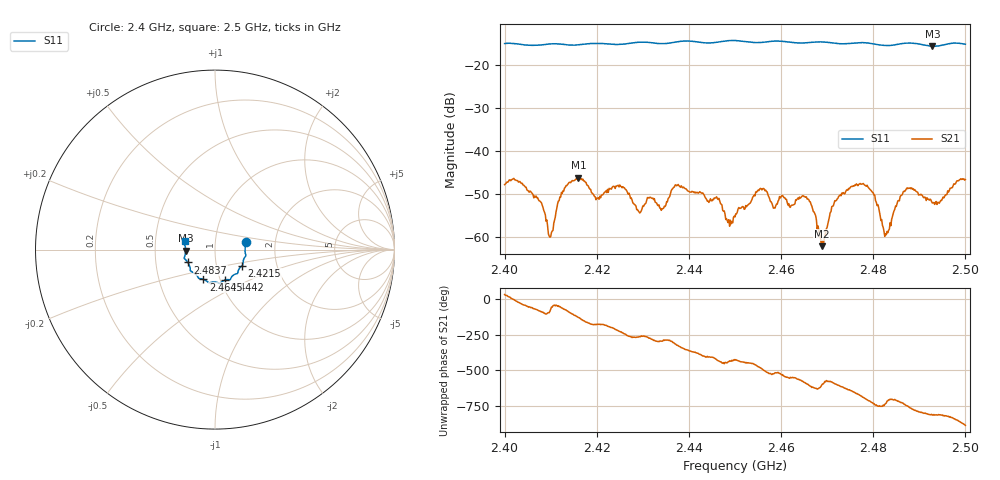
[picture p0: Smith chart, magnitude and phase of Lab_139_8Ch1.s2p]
# Hz S RI R 50
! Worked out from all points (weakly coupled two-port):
!   601 points, 2.4 GHz to 2.5 GHz, reference 50 ohm
!   highest |S21| = -46.20 dB at 2.416 GHz (marker M1); lowest = -62.1 dB at 2.4688 GHz (marker M2)
!   lowest |S11| = -15.7 dB at 2.4928 GHz (marker M3), VSWR 1.39, Z = 36 - j0.388 ohm
!   |S11| at or under -10 dB: start of sweep to end of sweep
!   S12 and S22 are empty: the file has one direction only
!   S11 on the Smith chart (normalised r, x): 2.4 GHz: 1.41, +0.12; 2.4215 GHz: 1.33, -0.25; 2.4442 GHz: 1.05, -0.37; 2.4645 GHz: 0.83, -0.29; 2.4837 GHz: 0.73, -0.11; 2.5 GHz: 0.71, +0.07
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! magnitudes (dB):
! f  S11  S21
! 2.4 GHz  -15.1  -47.8
! 2.4073 GHz  -15.5  -51.3
! 2.41 GHz  -15.2  -59.9
! 2.4125 GHz  -15.3  -49.9
! 2.416 GHz  -15.4  -46.2
! 2.4167 GHz  -15.3  -46.4
! 2.4215 GHz  -15.1  -49.9
! 2.4333 GHz  -15.1  -52.7
! 2.4375 GHz  -14.7  -48.0
! 2.4442 GHz  -15.0  -51.6
! 2.45 GHz  -14.4  -55.3
! 2.4558 GHz  -14.8  -49.1
! 2.4645 GHz  -15.0  -50.6
! 2.4667 GHz  -14.8  -52.8
! 2.4688 GHz  -14.7  -62.1
! 2.472 GHz  -15.1  -51.5
! 2.4768 GHz  -14.9  -47.8
! 2.4833 GHz  -15.6  -58.4
! 2.4837 GHz  -15.5  -56.7
! 2.4875 GHz  -15.0  -48.8
! 2.4928 GHz  -15.7  -52.1
! 2.5 GHz  -15.2  -46.7
